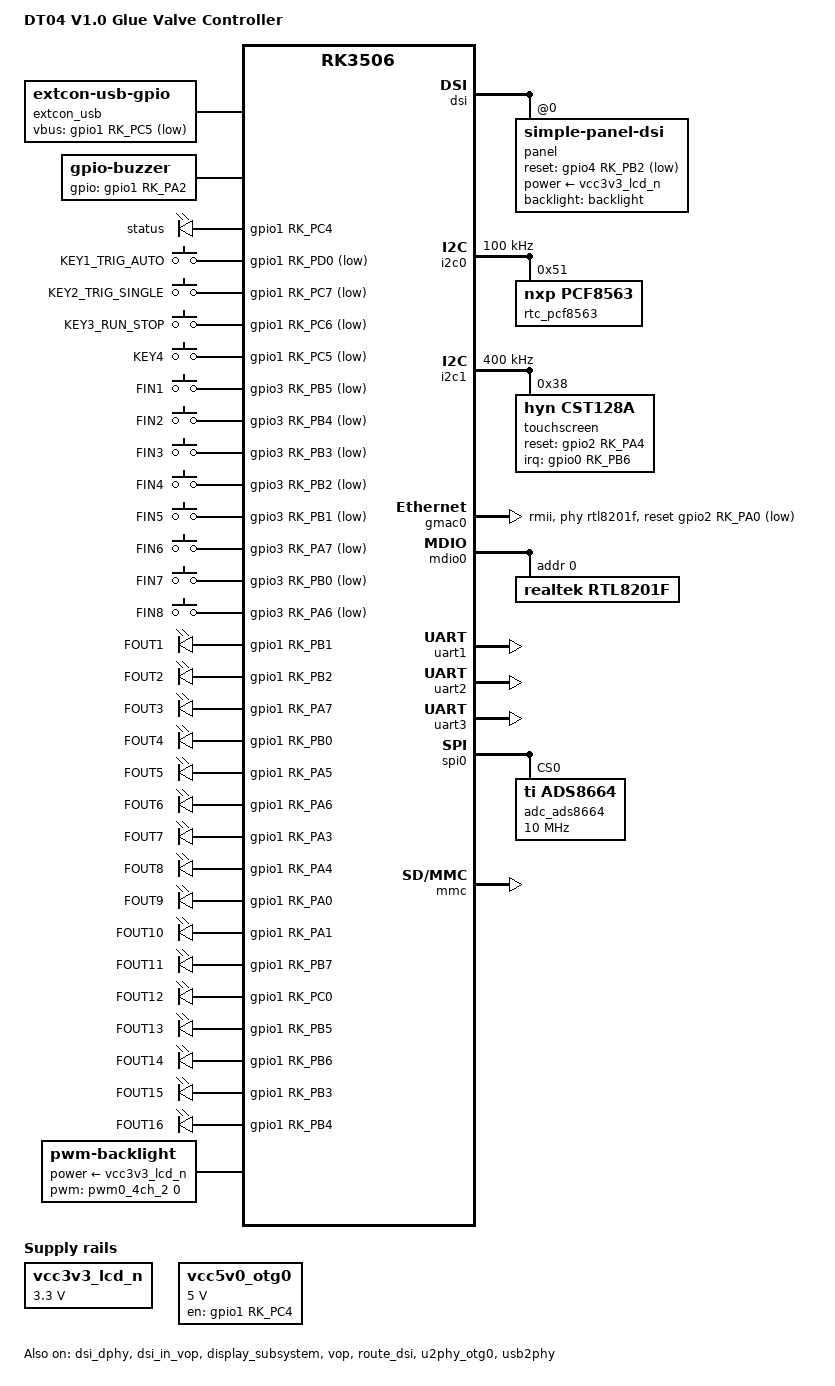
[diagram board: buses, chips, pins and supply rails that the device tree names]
// SPDX-License-Identifier: (GPL-2.0+ OR MIT)
/*
 * Copyright (c) 2024 Rockchip Electronics Co., Ltd.
 *
 * DT04 V1.0 Glue Valve Controller Board Device Tree
 * Based on RK3506G2 with:
 *   - RTL8201F Ethernet PHY
 *   - PCF8563 RTC
 *   - 6x RS485 (UART1-3 with DE/RE)
 *   - ADS8664 ADC (SPI)
 *   - MIPI DSI Display + Touch
 *   - 8x Isolated Inputs, 16x MOSFET Outputs
 */

/dts-v1/;

#include "rk3506.dtsi"
#include <dt-bindings/display/drm_mipi_dsi.h>
#include <dt-bindings/gpio/gpio.h>
#include <dt-bindings/input/input.h>
#include <dt-bindings/pinctrl/rockchip.h>

/ {
	model = "DT04 V1.0 Glue Valve Controller";
	compatible = "dt04,v1.0-glue-valve", "rockchip,rk3506";

	chosen {
		bootargs = "earlycon=uart8250,mmio32,0xff0a0000,115200 console=ttyFIQ0,115200 storagemedia=sd root=/dev/mmcblk0p3 rootfstype=ext4 rw rootwait";
	};

	extcon_usb: extcon-usb {
		compatible = "linux,extcon-usb-gpio";
		vbus-gpio = <&gpio1 RK_PC5 GPIO_ACTIVE_LOW>;
		pinctrl-names = "default";
		pinctrl-0 = <&usb_extcon_vbus>;
		status = "okay";
	};

	vcc3v3_lcd_n: vcc3v3-lcd0-n {
		compatible = "regulator-fixed";
		/* GPIO1_D3 is now used for LCD_RESET, so remove GPIO control for power */
		/* Power is always on or controlled by hardware */
		regulator-name = "vcc3v3_lcd_n";
		regulator-boot-on;
		regulator-always-on;
		regulator-min-microvolt = <3300000>;
		regulator-max-microvolt = <3300000>;
		status = "okay";
		regulator-state-mem {
			regulator-on-in-suspend;
		};
	};

	vcc5v0_otg0: vcc5v0-otg0-regulator {
		compatible = "regulator-fixed";
		regulator-name = "vcc5v0_otg0";
		regulator-min-microvolt = <5000000>;
		regulator-max-microvolt = <5000000>;
		enable-active-high;
		gpio = <&gpio1 RK_PC4 GPIO_ACTIVE_HIGH>;
		pinctrl-names = "default";
		pinctrl-0 = <&vcc5v0_otg0_en>;
	};

	/* Buzzer - GPIO controlled (BELL1) @ GPIO1_A2 */
	buzzer {
		compatible = "gpio-buzzer";
		gpios = <&gpio1 RK_PA2 GPIO_ACTIVE_HIGH>;
	};

	/* Status LEDs */
	leds {
		compatible = "gpio-leds";

		led_status: led-status {
			label = "status";
			/* GPIO1_C4 - unassigned in netlist, use for status LED */
			gpios = <&gpio1 RK_PC4 GPIO_ACTIVE_HIGH>;
			default-state = "on";
		};
	};

	/* GPIO Keys - KEY1-4 */
	gpio_keys {
		compatible = "gpio-keys";
		autorepeat;

		key1_trig_auto {
			label = "KEY1_TRIG_AUTO";
			gpios = <&gpio1 RK_PD0 GPIO_ACTIVE_LOW>;
			linux,code = <KEY_F1>;
			debounce-interval = <20>;
		};

		key2_trig_single {
			label = "KEY2_TRIG_SINGLE";
			gpios = <&gpio1 RK_PC7 GPIO_ACTIVE_LOW>;
			linux,code = <KEY_F2>;
			debounce-interval = <20>;
		};

		key3_run_stop {
			label = "KEY3_RUN_STOP";
			gpios = <&gpio1 RK_PC6 GPIO_ACTIVE_LOW>;
			linux,code = <KEY_F3>;
			debounce-interval = <20>;
		};

		key4 {
			label = "KEY4";
			gpios = <&gpio1 RK_PC5 GPIO_ACTIVE_LOW>;
			linux,code = <KEY_F4>;
			debounce-interval = <20>;
		};
	};

	/* FIN1-8: 8-channel isolated inputs (EL3H7 optocouplers) @ GPIO3 */
	isolated_inputs {
		compatible = "gpio-keys-polled";
		poll-interval = <20>;

		fin1 { label = "FIN1"; gpios = <&gpio3 RK_PB5 GPIO_ACTIVE_LOW>; linux,code = <BTN_1>; };
		fin2 { label = "FIN2"; gpios = <&gpio3 RK_PB4 GPIO_ACTIVE_LOW>; linux,code = <BTN_2>; };
		fin3 { label = "FIN3"; gpios = <&gpio3 RK_PB3 GPIO_ACTIVE_LOW>; linux,code = <BTN_3>; };
		fin4 { label = "FIN4"; gpios = <&gpio3 RK_PB2 GPIO_ACTIVE_LOW>; linux,code = <BTN_4>; };
		fin5 { label = "FIN5"; gpios = <&gpio3 RK_PB1 GPIO_ACTIVE_LOW>; linux,code = <BTN_5>; };
		fin6 { label = "FIN6"; gpios = <&gpio3 RK_PA7 GPIO_ACTIVE_LOW>; linux,code = <BTN_6>; };
		fin7 { label = "FIN7"; gpios = <&gpio3 RK_PB0 GPIO_ACTIVE_LOW>; linux,code = <BTN_7>; };
		fin8 { label = "FIN8"; gpios = <&gpio3 RK_PA6 GPIO_ACTIVE_LOW>; linux,code = <BTN_8>; };
	};

	/* FOUT1-16: 16-channel MOSFET outputs (RSR030N06) @ GPIO1 */
	mosfet_outputs {
		compatible = "gpio-leds";

		fout1  { label = "FOUT1";  gpios = <&gpio1 RK_PB1 GPIO_ACTIVE_HIGH>; };
		fout2  { label = "FOUT2";  gpios = <&gpio1 RK_PB2 GPIO_ACTIVE_HIGH>; };
		fout3  { label = "FOUT3";  gpios = <&gpio1 RK_PA7 GPIO_ACTIVE_HIGH>; };
		fout4  { label = "FOUT4";  gpios = <&gpio1 RK_PB0 GPIO_ACTIVE_HIGH>; };
		fout5  { label = "FOUT5";  gpios = <&gpio1 RK_PA5 GPIO_ACTIVE_HIGH>; };
		fout6  { label = "FOUT6";  gpios = <&gpio1 RK_PA6 GPIO_ACTIVE_HIGH>; };
		fout7  { label = "FOUT7";  gpios = <&gpio1 RK_PA3 GPIO_ACTIVE_HIGH>; };
		fout8  { label = "FOUT8";  gpios = <&gpio1 RK_PA4 GPIO_ACTIVE_HIGH>; };
		fout9  { label = "FOUT9";  gpios = <&gpio1 RK_PA0 GPIO_ACTIVE_HIGH>; };
		fout10 { label = "FOUT10"; gpios = <&gpio1 RK_PA1 GPIO_ACTIVE_HIGH>; };
		fout11 { label = "FOUT11"; gpios = <&gpio1 RK_PB7 GPIO_ACTIVE_HIGH>; };
		fout12 { label = "FOUT12"; gpios = <&gpio1 RK_PC0 GPIO_ACTIVE_HIGH>; };
		fout13 { label = "FOUT13"; gpios = <&gpio1 RK_PB5 GPIO_ACTIVE_HIGH>; };
		fout14 { label = "FOUT14"; gpios = <&gpio1 RK_PB6 GPIO_ACTIVE_HIGH>; };
		fout15 { label = "FOUT15"; gpios = <&gpio1 RK_PB3 GPIO_ACTIVE_HIGH>; };
		fout16 { label = "FOUT16"; gpios = <&gpio1 RK_PB4 GPIO_ACTIVE_HIGH>; };
	};

	backlight: backlight {
		compatible = "pwm-backlight";
		pwms = <&pwm0_4ch_2 0 25000 0>;
		power-supply = <&vcc3v3_lcd_n>;
		brightness-levels = <
			  0  20  20  21  21  22  22  23
			 23  24  24  25  25  26  26  27
			 27  28  28  29  29  30  30  31
			 31  32  32  33  33  34  34  35
			 35  36  36  37  37  38  38  39
			 40  41  42  43  44  45  46  47
			 48  49  50  51  52  53  54  55
			 56  57  58  59  60  61  62  63
			 64  65  66  67  68  69  70  71
			 72  73  74  75  76  77  78  79
			 80  81  82  83  84  85  86  87
			 88  89  90  91  92  93  94  95
			 96  97  98  99 100 101 102 103
			104 105 106 107 108 109 110 111
			112 113 114 115 116 117 118 119
			120 121 122 123 124 125 126 127
			128 129 130 131 132 133 134 135
			136 137 138 139 140 141 142 143
			144 145 146 147 148 149 150 151
			152 153 154 155 156 157 158 159
			160 161 162 163 164 165 166 167
			168 169 170 171 172 173 174 175
			176 177 178 179 180 181 182 183
			184 185 186 187 188 189 190 191
			192 193 194 195 196 197 198 199
			200 201 202 203 204 205 206 207
			208 209 210 211 212 213 214 215
			216 217 218 219 220 221 222 223
			224 225 226 227 228 229 230 231
			232 233 234 235 236 237 238 239
			240 241 242 243 244 245 246 247
			248 249 250 251 252 253 254 255
		>;
		default-brightness-level = <200>;
		status = "okay";
	};
};

&cma {
	size = <0x1600000>;
};

/*
 * Audio removed - DT04 V1.0 has no audio codec
 * &acodec_sound { status = "disabled"; };
 * &es8388 { status = "disabled"; };
 * &es8388_sound { status = "disabled"; };
 * &sai1 { status = "disabled"; };
 */

&dsi {
	status = "okay";
	/* MIPI DSI 2-lane for LCD display */
	rockchip,lane-rate = <996>;

	panel@0 {
		compatible = "simple-panel-dsi";
		reg = <0>;
		power-supply = <&vcc3v3_lcd_n>;
		/* LCD_RESET @ GPIO4_B2 (pin 61) */
		reset-gpios = <&gpio4 RK_PB2 GPIO_ACTIVE_LOW>;
		backlight = <&backlight>;
		
		/* Timing delays */
		reset-delay-ms = <30>;
		enable-delay-ms = <100>;
		prepare-delay-ms = <20>;
		unprepare-delay-ms = <20>;
		disable-delay-ms = <20>;
		init-delay-ms = <120>;
		
		/* DSI configuration */
		dsi,flags = <(MIPI_DSI_MODE_VIDEO | MIPI_DSI_MODE_VIDEO_BURST |
			      MIPI_DSI_MODE_LPM | MIPI_DSI_MODE_NO_EOT_PACKET)>;
		dsi,format = <MIPI_DSI_FMT_RGB888>;
		dsi,lanes = <2>;
		
		/* Panel initialization sequence from rk3506-evm-nand-480x800-mipi.dtsi */
		/* Note: Comments in panel-init-sequence may cause parsing errors, removed them */
		panel-init-sequence = [
			05 78 01 01
			05 78 01 11
			39 00 06 FF 77 01 00 00 11
			15 00 02 D1 11
			15 00 02 55 B0
			39 00 06 FF 77 01 00 00 10
			39 00 03 C0 63 00
			39 00 03 C1 09 02
			39 00 03 C2 37 08
			15 00 02 C7 00
			15 00 02 CC 38
			39 00 11 B0 00 11 19 0C 10 06 07 0A 09 22 04 10 0E 28 30 1C
			39 00 11 B1 00 12 19 0D 10 04 06 07 08 23 04 12 11 28 30 1C
			39 00 06 FF 77 01 00 00 11
			15 00 02 B0 4D
			15 00 02 B1 60
			15 00 02 B2 07
			15 00 02 B3 80
			15 00 02 B5 47
			15 00 02 B7 8A
			15 00 02 B8 21
			15 00 02 C1 78
			15 00 02 C2 78
			15 64 02 D0 88
			39 00 04 E0 00 00 02
			39 00 0C E1 01 A0 03 A0 02 A0 04 A0 00 44 44
			39 00 0D E2 00 00 00 00 00 00 00 00 00 00 00 00
			39 00 05 E3 00 00 33 33
			39 00 03 E4 44 44
			39 00 11 E5 01 26 A0 A0 03 28 A0 A0 05 2A A0 A0 07 2C A0 A0
			39 00 05 E6 00 00 33 33
			39 00 03 E7 44 44
			39 00 11 E8 02 26 A0 A0 04 28 A0 A0 06 2A A0 A0 08 2C A0 A0
			39 00 08 EB 00 01 E4 E4 44 00 40
			39 00 11 ED FF F7 65 4F 0B A1 CF FF FF FC 1A B0 F4 56 7F FF
			39 00 06 FF 77 01 00 00 00
			15 00 02 36 00
			15 00 02 3A 55
			05 78 01 11
			05 14 01 29
		];
		
		/* Panel exit sequence */
		panel-exit-sequence = [
			05 00 01 28
			05 00 01 10
		];
		
		/* Bits per color - required by panel-simple-dsi */
		/* Must be before subnodes (display-timings) */
		bpc = <8>;
		
		/* Display timings for 480x800 panel */
		display-timings {
			native-mode = <&dsi_timing0>;
			dsi_timing0: timing0 {
				clock-frequency = <27000000>;
				hactive = <480>;
				vactive = <800>;
				hfront-porch = <32>;
				hsync-len = <4>;
				hback-porch = <32>;
				vfront-porch = <9>;
				vsync-len = <4>;
				vback-porch = <3>;
				hsync-active = <0>;
				vsync-active = <0>;
				de-active = <0>;
				pixelclk-active = <0>;
			};
		};
	};
};

&dsi_dphy {
	status = "okay";
};

&dsi_in_vop {
	status = "okay";
};

/*
 * I2C0 - PCF8563 RTC
 * SCL: GPIO0_B0 (pin 7)
 * SDA: GPIO0_B1 (pin 8)
 */
&i2c0 {
	status = "okay";
	clock-frequency = <100000>;
	pinctrl-names = "default";
	pinctrl-0 = <&rm_io11_i2c0_scl &rm_io10_i2c0_sda>;

	rtc_pcf8563: pcf8563@51 {
		compatible = "nxp,pcf8563";
		reg = <0x51>;
		status = "okay";
	};
};

//&i2c2 {
//	clock-frequency = <400000>;
//	pinctrl-names = "default";
//	pinctrl-0 = <&rm_io4_i2c2_scl &rm_io5_i2c2_sda>;
//	status = "okay";
//
//	gt1x: gt1x@14 {
//		compatible = "goodix,gt1x";
//		reg = <0x14>;
//		gtp_ics_slot_report;
//		goodix,rst-gpio = <&gpio1 RK_PB4 GPIO_ACTIVE_HIGH>; /* GPIO1_B4 -> CAP_RST */
//		goodix,irq-gpio = <&gpio0 RK_PB1 GPIO_ACTIVE_LOW>; /* GPIO0_B1 -> CAP_TS_INT */
//		power-supply = <&vcc3v3_lcd_n>;
//		status = "okay";
//	};
//};

/*
 * I2C1 - Touch Controller (via RS0104 level shifter)
 * 1.8V side: CTP_1V8_SDA/SCL
 * 3.3V side: I2C1_CTP_SDA/SCL
 */
&i2c1 {
	status = "okay";
	clock-frequency = <400000>;
	pinctrl-names = "default";
	pinctrl-0 = <&rm_io13_i2c1_scl &rm_io12_i2c1_sda>;

	touchscreen@38 {
		compatible = "hyn,cst128a";
		reg = <0x38>;
		/* CTP INT @ GPIO0_B6 (pin 4), Reset @ GPIO2_A4 (pin 57) */
		interrupt-parent = <&gpio0>;
		interrupts = <RK_PB6 IRQ_TYPE_LEVEL_LOW>;
		reset-gpios = <&gpio2 RK_PA4 GPIO_ACTIVE_HIGH>;
		status = "okay";
	};
};

&pinctrl {
	/* Touch interrupt @ GPIO0_B6 */
	touch {
		touch_gpio: touch-gpio {
			rockchip,pins = <0 RK_PB6 RK_FUNC_GPIO &pcfg_pull_up>;
		};
	};
};

&pinctrl {
	usb {
		usb_extcon_vbus: usb-extcon-vbus {
			rockchip,pins = <1 RK_PC5 RK_FUNC_GPIO &pcfg_pull_none>;
		};

		vcc5v0_otg0_en: vcc5v0-otg0-en {
			rockchip,pins = <1 RK_PC4 RK_FUNC_GPIO &pcfg_pull_none>;
		};

	};

	sdmmc {
		/omit-if-no-ref/
		sdmmc_det: sdmmc-det {
			rockchip,pins = <3 RK_PA7 RK_FUNC_GPIO &pcfg_pull_up>;
		};
	};
};

&display_subsystem {
	status = "okay";
	/* logo-memory-region = <&drm_logo>; */
};

&vop {
	status = "okay";
};

&route_dsi {
	status = "okay";
};

/*
 * Ethernet - RTL8201F RMII PHY
 * PHY address: 0x0
 * 25MHz clock from external oscillator (X3)
 */
&gmac0 {
	phy-mode = "rmii";
	clock_in_out = "input";

	/* PHY reset: GPIO2_A0 (pin 59) */
	snps,reset-gpio = <&gpio2 RK_PA0 GPIO_ACTIVE_LOW>;
	snps,reset-active-low;
	snps,reset-delays-us = <0 20000 100000>;

	pinctrl-names = "default";
	pinctrl-0 = <&eth_rmii0_miim_pins
		     &eth_rmii0_tx_bus2_pins
		     &eth_rmii0_rx_bus2_pins
		     &eth_rmii0_clk_pins>;

	phy-handle = <&rtl8201f>;
	status = "okay";
};

&mdio0 {
	status = "okay";

	rtl8201f: phy@0 {
		compatible = "realtek,rtl8201f", "ethernet-phy-ieee802.3-c22";
		reg = <0x0>;
		max-speed = <100>;
		/* External 25MHz crystal (X3) provides PHY clock */
	};
};

/*
 * UART1 - RS485 Channel 1 & 2 (TP75176E x2)
 */
&uart1 {
	pinctrl-names = "default";
	pinctrl-0 = <&rm_io9_uart1_tx &rm_io7_uart1_rx>;
	linux,rs485-enabled-at-boot-time;
	rs485-rts-active-high;
	status = "okay";
};

/*
 * UART2 - RS485 Channel 3 & 4 (TP75176E x2)
 */
&uart2 {
	pinctrl-names = "default";
	pinctrl-0 = <&rm_io6_uart2_tx &rm_io4_uart2_rx>;
	linux,rs485-enabled-at-boot-time;
	rs485-rts-active-high;
	status = "okay";
};

&uart0 {
	/* UART0 must be disabled when FIQ debugger uses it */
	/* FIQ debugger will take control of UART0 */
	status = "disabled";
};

&uart3 {
	pinctrl-names = "default";
	pinctrl-0 = <&rm_io3_uart3_tx &rm_io1_uart3_rx>;
	linux,rs485-enabled-at-boot-time;
	rs485-rts-active-high;
	status = "okay";
};

&uart4 {
	dma-names = "!tx", "!rx";	/* remove ! to enable dma */
	pinctrl-names = "default";
};

/*
 * SPI0 - ADS8664 4-Channel ADC
 */
&spi0 {
	status = "okay";
	pinctrl-names = "default";
	pinctrl-0 = <&rm_io16_spi0_clk &rm_io15_spi0_csn0 &rm_io17_spi0_mosi &rm_io18_spi0_miso>;

	adc_ads8664: ads8664@0 {
		compatible = "ti,ads8664";
		reg = <0>;
		spi-max-frequency = <10000000>;
		status = "okay";
	};
};

&u2phy_otg0 {
	vbus-supply = <&vcc5v0_otg0>;
	rockchip,gpio-vbus-det;
	status = "okay";
};


&usb2phy {
	extcon = <&extcon_usb>;
	status = "okay";
};

&mmc {
	/* Override MMC configuration for SD card support */
	/* Remove no-sd and non-removable properties from base dtsi */
	/delete-property/ no-sd;
	/delete-property/ non-removable;
	/delete-property/ mmc-pwrseq;
	no-sdio;
	no-mmc;
	cap-mmc-highspeed;
	cap-sd-highspeed;
	/* DEBUG: Temporarily disable CD detection to force card recognition */
	/* cd-gpios = <&gpio3 RK_PA7 GPIO_ACTIVE_LOW>; */
	broken-cd;
	disable-wp;
	sd-uhs-sdr104;
	max-frequency = <150000000>;
	pinctrl-names = "default";
	pinctrl-0 = <&sdmmc_clk_pins &sdmmc_cmd_pins &sdmmc_bus4_pins>;
	status = "okay";
};


